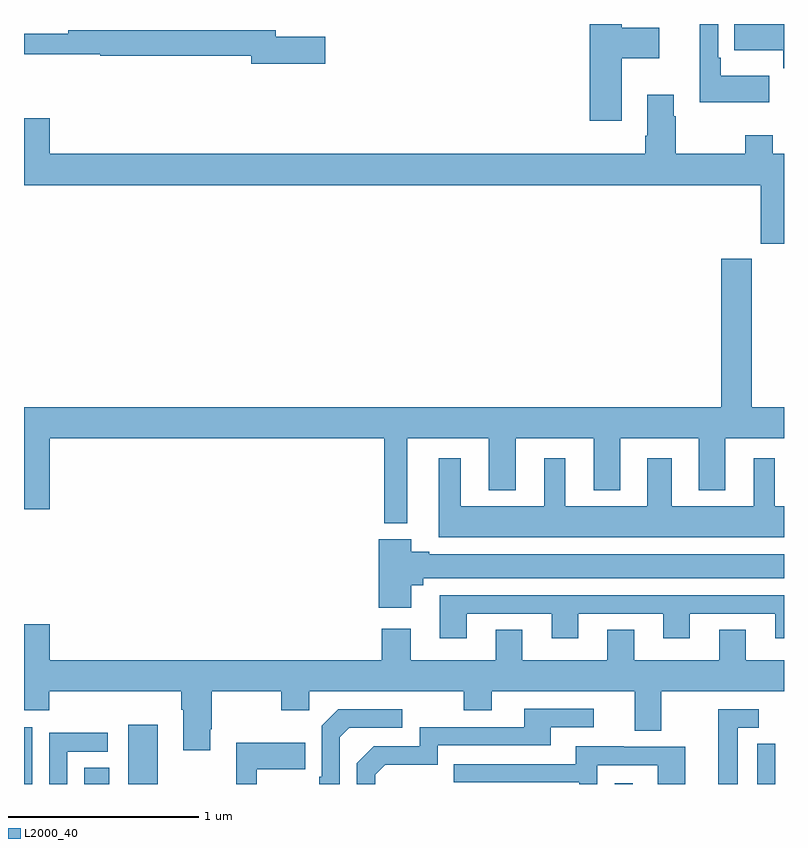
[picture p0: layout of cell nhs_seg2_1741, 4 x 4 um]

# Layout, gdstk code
import gdstk
lib = gdstk.Library(unit=1e-6, precision=1e-09)
def R(c, l, rs):  # rectangles x0, y0, x1, y1
    for r in rs: c.add(gdstk.rectangle(r[:2], r[2:], *l))
def P(c, l, *ps):  # polygons
    for p in ps: c.add(gdstk.Polygon(p, *l))
L2000_40 = (2000, 40)

nhs_seg2_1741 = lib.new_cell('nhs_seg2_1741')
R(nhs_seg2_1741, L2000_40, [(201,661.8,201.043,662.098), (201.317,661.8,201.448,661.886), (201.548,661.8,201.703,662.113), (204.108,661.8,204.205,661.804)])
P(nhs_seg2_1741, L2000_40, [(204.145,665.621),(204.343,665.621),(204.343,665.779),(204.145,665.779),(204.145,665.8),(203.978,665.8),(203.978,665.292),(204.145,665.292)],
  [(204.923,665.527),(204.667,665.527),(204.667,665.623),(204.654,665.623),(204.654,665.8),(204.557,665.8),(204.557,665.387),(204.923,665.387)],
  [(205,665.8),(204.739,665.8),(204.739,665.663),(204.996,665.663),(204.996,665.567),(205,665.567)],
  [(202.585,665.732),(202.324,665.732),(202.324,665.768),(201.232,665.768),(201.232,665.749),(201,665.749),(201,665.64),(201.4,665.64),(201.4,665.632),(202.196,665.632),(202.196,665.59),(202.585,665.59)],
  [(205,665.116),(204.942,665.116),(204.942,665.215),(204.796,665.215),(204.796,665.116),(204.429,665.116),(204.429,665.315),(204.421,665.315),(204.421,665.428),(204.281,665.428),(204.281,665.212),(204.269,665.212),(204.269,665.116),(201.136,665.116),(201.136,665.305),(201,665.305),(201,664.952),(204.878,664.952),(204.878,664.643),(205,664.643)],
  [(203.017,663.62),(203.447,663.62),(203.447,663.347),(203.587,663.347),(203.587,663.62),(203.999,663.62),(203.999,663.347),(204.139,663.347),(204.139,663.62),(204.551,663.62),(204.551,663.347),(204.691,663.347),(204.691,663.62),(205,663.62),(205,663.784),(204.831,663.784),(204.831,664.564),(204.671,664.564),(204.671,663.784),(201,663.784),(201,663.246),(201.136,663.246),(201.136,663.62),(202.896,663.62),(202.896,663.172),(203.017,663.172)],
  [(205,663.262),(204.952,663.262),(204.952,663.514),(204.842,663.514),(204.842,663.262),(204.409,663.262),(204.409,663.514),(204.281,663.514),(204.281,663.262),(203.848,663.262),(203.848,663.514),(203.738,663.514),(203.738,663.262),(203.299,663.262),(203.299,663.514),(203.183,663.514),(203.183,663.098),(205,663.098)],
  [(203.038,662.846),(203.101,662.846),(203.101,662.882),(205,662.882),(205,663.01),(203.134,663.01),(203.134,663.023),(203.038,663.023),(203.038,663.087),(202.868,663.087),(202.868,662.727),(203.038,662.727)],
  [(203.329,662.697),(203.777,662.697),(203.777,662.568),(203.917,662.568),(203.917,662.697),(204.365,662.697),(204.365,662.568),(204.505,662.568),(204.505,662.697),(204.953,662.697),(204.953,662.568),(205,662.568),(205,662.793),(203.189,662.793),(203.189,662.568),(203.329,662.568)],
  [(201.979,662.089),(201.987,662.089),(201.987,662.288),(202.354,662.288),(202.354,662.189),(202.5,662.189),(202.5,662.288),(203.314,662.288),(203.314,662.189),(203.461,662.189),(203.461,662.288),(204.215,662.288),(204.215,662.08),(204.355,662.08),(204.355,662.288),(205,662.288),(205,662.452),(204.799,662.452),(204.799,662.612),(204.659,662.612),(204.659,662.452),(204.211,662.452),(204.211,662.612),(204.071,662.612),(204.071,662.452),(203.623,662.452),(203.623,662.612),(203.483,662.612),(203.483,662.452),(203.035,662.452),(203.035,662.617),(202.883,662.617),(202.883,662.452),(201.136,662.452),(201.136,662.641),(201,662.641),(201,662.189),(201.134,662.189),(201.134,662.288),(201.827,662.288),(201.827,662.192),(201.839,662.192),(201.839,661.977),(201.979,661.977)],
  [(202.848,661.848),(202.901,661.901),(203.178,661.901),(203.178,662.004),(203.773,662.004),(203.773,662.1),(203.998,662.1),(203.998,662.196),(203.633,662.196),(203.633,662.1),(203.082,662.1),(203.082,661.998),(202.842,661.998),(202.752,661.908),(202.752,661.8),(202.848,661.8)],
  [(204.757,662.097),(204.868,662.097),(204.868,662.193),(204.653,662.193),(204.653,661.8),(204.757,661.8)],
  [(202.662,662.046),(202.713,662.097),(202.99,662.097),(202.99,662.193),(202.653,662.193),(202.566,662.106),(202.566,661.837),(202.554,661.837),(202.554,661.8),(202.662,661.8)],
  [(201.228,661.971),(201.442,661.971),(201.442,662.07),(201.132,662.07),(201.132,661.8),(201.228,661.8)],
  [(202.225,661.877),(202.481,661.877),(202.481,662.017),(202.116,662.017),(202.116,661.8),(202.225,661.8)],
  [(204.953,661.858),(204.954,661.858),(204.954,662.012),(204.858,662.012),(204.858,661.8),(204.953,661.8)],
  [(204.018,661.899),(204.336,661.899),(204.336,661.8),(204.481,661.8),(204.481,661.995),(204.157,661.995),(204.157,661.999),(203.903,661.999),(203.903,661.905),(203.263,661.905),(203.263,661.809),(203.922,661.809),(203.922,661.8),(204.018,661.8)])

lib.write_gds('nhs_seg2_1741.gds')
